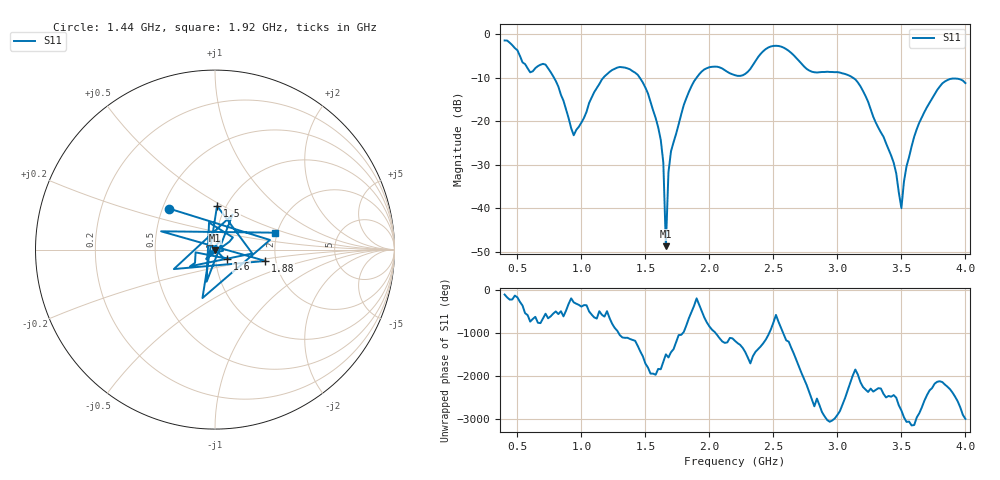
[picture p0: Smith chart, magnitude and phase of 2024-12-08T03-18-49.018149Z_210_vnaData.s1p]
!Created with skrf (http://scikit-rf.org).
# Hz S RI R 50.0
!freq ReS11 ImS11
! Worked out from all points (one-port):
!   181 points, 400 MHz to 4 GHz, reference 50 ohm
!   lowest |S11| = -48.7 dB at 1.66 GHz (marker M1), VSWR 1.01, Z = 50.2 - j0.313 ohm
!   |S11| at or under -10 dB: 786.2 MHz to 1.171 GHz (384.9 MHz wide, 39.3 % of centre); 1.456 GHz to 1.899 GHz (442.8 MHz wide, 26.4 % of centre); 3.123 GHz to end of sweep
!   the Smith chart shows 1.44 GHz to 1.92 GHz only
!   S11 on the Smith chart (normalised r, x): 1.44 GHz: 0.54, +0.28; 1.5 GHz: 0.91, +0.47; 1.6 GHz: 1.14, -0.12; 1.88 GHz: 1.76, -0.24; 1.92 GHz: 1.94, +0.42
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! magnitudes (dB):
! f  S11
! 400 MHz  -1.4
! 600 MHz  -8.7
! 720 MHz  -7.0
! 860 MHz  -15.3
! 940 MHz  -23.2
! 1.16 GHz  -10.4
! 1.3 GHz  -7.5
! 1.44 GHz  -9.3
! 1.5 GHz  -12.3
! 1.6 GHz  -21.4
! 1.64 GHz  -29.5
! 1.66 GHz  -48.7
! 1.68 GHz  -31.7
! 1.76 GHz  -20.7
! 1.88 GHz  -10.8
! 1.92 GHz  -9.2
! 2.2 GHz  -9.4
! 2.48 GHz  -2.8
! 2.66 GHz  -4.9
! 2.8 GHz  -8.6
! 3.1 GHz  -9.6
! 3.2 GHz  -13.0
! 3.42 GHz  -27.9
! 3.5 GHz  -40.0
! 3.56 GHz  -28.2
! 3.64 GHz  -20.3
! 3.8 GHz  -12.0
! 4 GHz  -11.2
